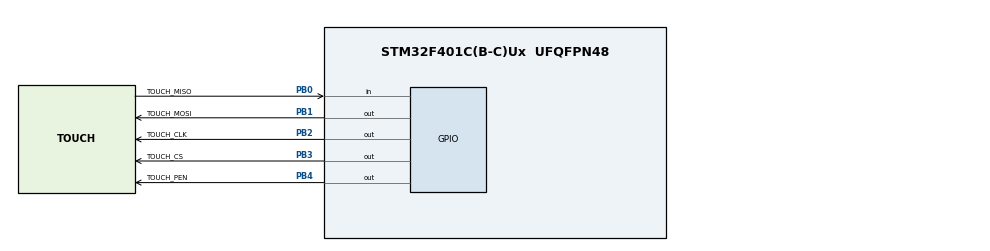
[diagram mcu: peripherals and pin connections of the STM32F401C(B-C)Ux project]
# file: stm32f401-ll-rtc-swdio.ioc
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ADC1.Channel-2\#ChannelRegularConversion=ADC_CHANNEL_VBAT
ADC1.NbrOfConversionFlag=1
ADC1.Rank-2\#ChannelRegularConversion=1
ADC1.SamplingTime-2\#ChannelRegularConversion=ADC_SAMPLETIME_3CYCLES
ADC1.master=1
Mcu.Family=STM32F4
Mcu.Name=STM32F401C(B-C)Ux
Mcu.Package=UFQFPN48
NVIC.PriorityGroup=NVIC_PRIORITYGROUP_4
PA13.Mode=Serial_Wire
PA13.Signal=SYS_JTMS-SWDIO
PA14.Mode=Serial_Wire
PA14.Signal=SYS_JTCK-SWCLK
PB0.GPIO_Label=TOUCH_MISO
PB0.Signal=GPIO_Input
PB1.GPIO_Label=TOUCH_MOSI
PB1.Signal=GPIO_Output
PB2.GPIO_Label=TOUCH_CLK
PB2.Signal=GPIO_Output
PB3.GPIO_Label=TOUCH_CS
PB3.Signal=GPIO_Output
PB4.GPIO_Label=TOUCH_PEN
PB4.Signal=GPIO_Output
PH0\ -\ OSC_IN.Mode=HSE-External-Oscillator
PH0\ -\ OSC_IN.Signal=RCC_OSC_IN
PH1\ -\ OSC_OUT.Mode=HSE-External-Oscillator
PH1\ -\ OSC_OUT.Signal=RCC_OSC_OUT
ProjectManager.HeapSize=0x200
ProjectManager.StackSize=0x400
ProjectManager.TargetToolchain=Makefile
RCC.48MHZClocksFreq_Value=42000000
RCC.AHBFreq_Value=84000000
RCC.APB1CLKDivider=RCC_HCLK_DIV2
RCC.APB1Freq_Value=42000000
RCC.APB1TimFreq_Value=84000000
RCC.APB2Freq_Value=84000000
RCC.APB2TimFreq_Value=84000000
RCC.CortexFreq_Value=84000000
RCC.HCLKFreq_Value=84000000
RCC.HSE_VALUE=25000000
RCC.HSI_VALUE=16000000
RCC.LSE_VALUE=32768
RCC.PLLM=8
RCC.PLLN=84
RCC.RCC_RTC_Clock_SourceVirtual=RCC_RTCCLKSOURCE_HSE_DIV25
RCC.RCC_RTC_Clock_Source_FROM_HSE=RCC_RTCCLKSOURCE_HSE_DIV25
RCC.SYSCLKFreq_VALUE=84000000
RCC.SYSCLKSource=RCC_SYSCLKSOURCE_PLLCLK
RCC.VCOOutputFreq_Value=168000000
RTC.AsynchPrediv=125
RTC.SynchPrediv=8000
VP_ADC1_Vbat_Input.Mode=IN-Vbat
VP_ADC1_Vref_Input.Mode=IN-Vrefint
VP_RTC_VS_RTC_Activate.Mode=RTC_Enabled
VP_RTC_VS_RTC_Calendar.Mode=RTC_Calendar
board=custom

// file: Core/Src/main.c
/* USER CODE BEGIN Header */
/**
  ******************************************************************************
  * @file           : main.c
  * @brief          : Main program body
  ******************************************************************************
  * @attention
  *
  * <h2><center>&copy; Copyright (c) 2020 STMicroelectronics.
  * All rights reserved.</center></h2>
  *
  * This software component is licensed by ST under BSD 3-Clause license,
  * the "License"; You may not use this file except in compliance with the
  * License. You may obtain a copy of the License at:
  *                        opensource.org/licenses/BSD-3-Clause
  *
  ******************************************************************************
  */
/* USER CODE END Header */
#include "main.h"
#include "adc.h"
#include "rtc.h"
#include "gpio.h"

/* USER CODE BEGIN Includes */
#include "rtc_config.h"
#include "time.h"

#include "xpt2046.h"
#include "soft_spi_ts.h"
/* USER CODE END Includes */

void SystemClock_Config(void);

/* USER CODE BEGIN 0 */
extern void initialise_monitor_handles(void);

time_t now;
struct tm *now_tm;
uint8_t hour,min,sec,mday,wday,mon;
uint16_t year;

extern TS_Point p; // define on __xpt2046_H

/* USER CODE END 0 */

int main(void)
{

  /* USER CODE BEGIN 1 */
#ifdef SEMIHOSTING_ENABLE
  initialise_monitor_handles();
#endif
  /* USER CODE END 1 */

  /* MCU Configuration--------------------------------------------------------*/

  /* Reset of all peripherals, Initializes the Flash interface and the Systick. */
  LL_APB2_GRP1_EnableClock(LL_APB2_GRP1_PERIPH_SYSCFG);
  LL_APB1_GRP1_EnableClock(LL_APB1_GRP1_PERIPH_PWR);

  /* System interrupt init*/
  NVIC_SetPriorityGrouping(NVIC_PRIORITYGROUP_4);

  /* Configure the system clock */
  SystemClock_Config();

  /* Initialize all configured peripherals */
  MX_GPIO_Init();
  MX_ADC1_Init();
  MX_RTC_Init();

  /* Infinite loop */
  /* USER CODE BEGIN WHILE */
#ifdef SEMIHOSTING_ENABLE
  printf("\nhello printf\n");
  puts("hello puts");
  LL_mDelay(100);
  printf("hello printf\n");
  printf("hello world!\n");
  LL_mDelay(100);
#endif

  // man localtime
  now = time(NULL);
  now_tm = localtime(&now);

  sec   = now_tm->tm_sec;    /* Seconds (0-60) */
  min   = now_tm->tm_min;    /* Minutes (0-59) */
  hour  = now_tm->tm_hour;   /* Hours (0-23) */
  mday  = now_tm->tm_mday;   /* Day of the month (1-31) */
  mon   = now_tm->tm_mon;    /* Month (0-11) */
  year  = now_tm->tm_year;   /* Year - 1900 */
  wday  = now_tm->tm_wday;   /* Day of the week (0-6, Sunday = 0) */

  DATE_Config(wday, mday+12, mon+1, year-0x58);
  TIME_Config(hour, min, sec);

  while (1)
  {
    #ifdef SEMIHOSTING_ENABLE
    // Show_RTC_Calendar();
    get_point(&p); // get coordinates x y z from xpt2046
    printf("X%02i  Y%02i  Z%02i\n", (uint16_t)p.x, (uint16_t)p.y, (uint16_t)p.z);
    // xpt2046_read();
    LL_mDelay(500);
    #endif
    /* USER CODE END WHILE */

  }
}

void SystemClock_Config(void)
{
  LL_FLASH_SetLatency(LL_FLASH_LATENCY_2);
  while(LL_FLASH_GetLatency()!= LL_FLASH_LATENCY_2)
  {
  }
  LL_PWR_SetRegulVoltageScaling(LL_PWR_REGU_VOLTAGE_SCALE2);
  LL_RCC_HSE_Enable();

   /* Wait till HSE is ready */
  while(LL_RCC_HSE_IsReady() != 1)
  {

  }
  LL_RCC_HSI_SetCalibTrimming(16);
  LL_RCC_HSI_Enable();

   /* Wait till HSI is ready */
  while(LL_RCC_HSI_IsReady() != 1)
  {

  }
  LL_PWR_EnableBkUpAccess();
  LL_RCC_PLL_ConfigDomain_SYS(LL_RCC_PLLSOURCE_HSI, LL_RCC_PLLM_DIV_8, 84, LL_RCC_PLLP_DIV_2);
  LL_RCC_PLL_Enable();

   /* Wait till PLL is ready */
  while(LL_RCC_PLL_IsReady() != 1)
  {

  }
  while (LL_PWR_IsActiveFlag_VOS() == 0)
  {
  }
  LL_RCC_SetAHBPrescaler(LL_RCC_SYSCLK_DIV_1);
  LL_RCC_SetAPB1Prescaler(LL_RCC_APB1_DIV_2);
  LL_RCC_SetAPB2Prescaler(LL_RCC_APB2_DIV_1);
  LL_RCC_SetSysClkSource(LL_RCC_SYS_CLKSOURCE_PLL);

   /* Wait till System clock is ready */
  while(LL_RCC_GetSysClkSource() != LL_RCC_SYS_CLKSOURCE_STATUS_PLL)
  {

  }
  LL_Init1msTick(84000000);
  LL_SetSystemCoreClock(84000000);
  LL_RCC_SetTIMPrescaler(LL_RCC_TIM_PRESCALER_TWICE);
}

void Error_Handler(void)
{
}
